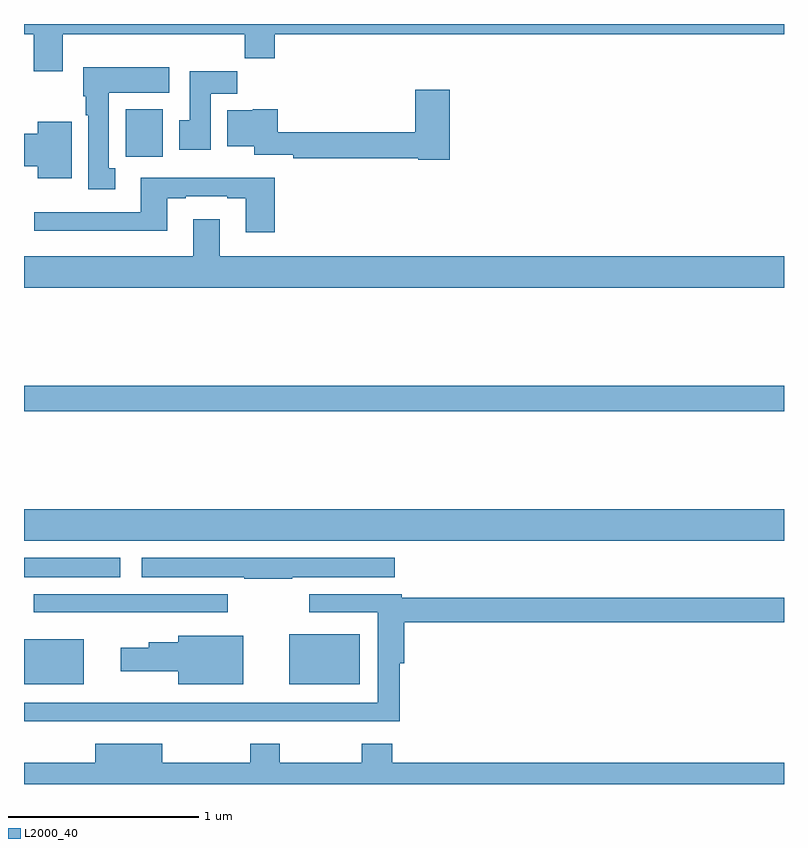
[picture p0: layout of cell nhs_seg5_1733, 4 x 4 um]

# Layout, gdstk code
import gdstk
lib = gdstk.Library(unit=1e-6, precision=1e-09)
def R(c, l, rs):  # rectangles x0, y0, x1, y1
    for r in rs: c.add(gdstk.rectangle(r[:2], r[2:], *l))
def P(c, l, *ps):  # polygons
    for p in ps: c.add(gdstk.Polygon(p, *l))
L2000_40 = (2000, 40)

nhs_seg5_1733 = lib.new_cell('nhs_seg5_1733')
R(nhs_seg5_1733, L2000_40, [(215,869.324,215.314,869.56), (216.395,869.324,216.766,869.587), (215,869.888,215.506,869.989), (215,870.08,219,870.244), (215,870.76,219,870.896), (215.535,872.1,215.731,872.35)])
P(nhs_seg5_1733, L2000_40, [(215.203,872.744),(216.163,872.744),(216.163,872.62),(216.32,872.62),(216.32,872.744),(219,872.744),(219,872.799),(215,872.799),(215,872.744),(215.051,872.744),(215.051,872.55),(215.203,872.55)],
  [(215.479,872.041),(215.446,872.041),(215.446,872.438),(215.764,872.438),(215.764,872.572),(215.312,872.572),(215.312,872.418),(215.324,872.418),(215.324,872.318),(215.339,872.318),(215.339,871.929),(215.479,871.929)],
  [(215.983,872.432),(216.122,872.432),(216.122,872.551),(215.873,872.551),(215.873,872.292),(215.816,872.292),(215.816,872.136),(215.983,872.136)],
  [(217.241,872.452),(217.058,872.452),(217.058,872.228),(216.335,872.228),(216.335,872.35),(216.204,872.35),(216.204,872.344),(216.071,872.344),(216.071,872.156),(216.212,872.156),(216.212,872.112),(216.418,872.112),(216.418,872.092),(217.074,872.092),(217.074,872.084),(217.241,872.084)],
  [(215.251,872.284),(215.072,872.284),(215.072,872.222),(215,872.222),(215,872.05),(215.072,872.05),(215.072,871.988),(215.251,871.988)],
  [(216.32,871.99),(215.615,871.99),(215.615,871.809),(215.055,871.809),(215.055,871.712),(215.755,871.712),(215.755,871.881),(215.851,871.881),(215.851,871.893),(216.071,871.893),(216.071,871.881),(216.167,871.881),(216.167,871.704),(216.32,871.704)],
  [(219,871.576),(216.031,871.576),(216.031,871.771),(215.891,871.771),(215.891,871.576),(215,871.576),(215,871.412),(219,871.412)],
  [(216.413,869.888),(216.952,869.888),(216.952,869.989),(215.619,869.989),(215.619,869.888),(216.16,869.888),(216.16,869.878),(216.413,869.878)],
  [(215.279,869.13),(215.824,869.13),(215.824,869.129),(216.101,869.129),(216.101,869.13),(216.433,869.13),(216.433,869.129),(216.689,869.129),(216.689,869.13),(216.977,869.13),(216.977,869.435),(217.001,869.435),(217.001,869.65),(219,869.65),(219,869.779),(216.988,869.779),(216.988,869.799),(216.501,869.799),(216.501,869.703),(216.861,869.703),(216.861,869.226),(215.717,869.226),(215.717,869.227),(215.41,869.227),(215.41,869.226),(215,869.226),(215,869.13),(215.023,869.13),(215.023,869.129),(215.279,869.129)],
  [(215.661,869.703),(216.073,869.703),(216.073,869.799),(215.052,869.799),(215.052,869.702),(215.661,869.702)],
  [(216.154,869.578),(215.813,869.578),(215.813,869.545),(215.657,869.545),(215.657,869.515),(215.508,869.515),(215.508,869.393),(215.813,869.393),(215.813,869.324),(216.154,869.324)],
  [(219,868.912),(216.938,868.912),(216.938,869.011),(216.778,869.011),(216.778,868.912),(216.345,868.912),(216.345,869.011),(216.19,869.011),(216.19,868.912),(215.728,868.912),(215.728,869.011),(215.375,869.011),(215.375,868.912),(215,868.912),(215,868.799),(219,868.799)])

lib.write_gds('nhs_seg5_1733.gds')
